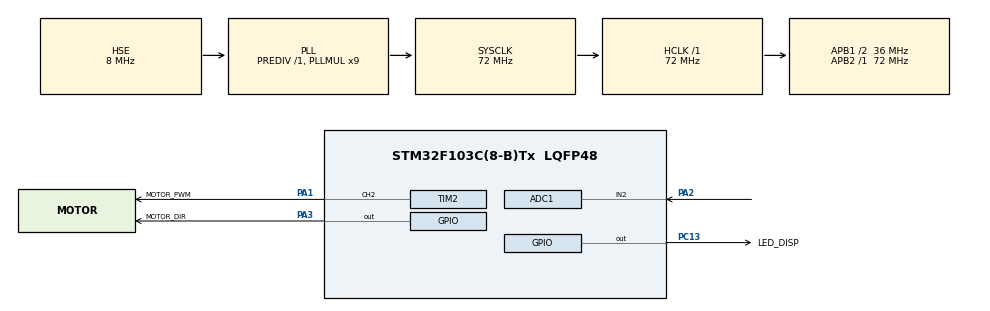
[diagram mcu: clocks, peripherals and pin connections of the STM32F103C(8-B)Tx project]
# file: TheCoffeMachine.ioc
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ADC1.Channel-9\#ChannelRegularConversion=ADC_CHANNEL_2
ADC1.ContinuousConvMode=DISABLE
ADC1.NbrOfConversionFlag=1
ADC1.Rank-9\#ChannelRegularConversion=1
ADC1.SamplingTime-9\#ChannelRegularConversion=ADC_SAMPLETIME_239CYCLES_5
ADC1.master=1
FREERTOS.INCLUDE_vTaskDelayUntil=1
FREERTOS.Tasks01=defaultTask,0,128,StartDefaultTask,Default,NULL,Dynamic,NULL,NULL;motorCtrlTask,2,128,startMotorCtrlTask,Default,NULL,Dynamic,NULL,NULL;ledDispTask,0,128,startLedDispTask,Default,NULL,Dynamic,NULL,NULL;volumeReadTask,1,128,startVolumeReadTask,Default,NULL,Dynamic,NULL,NULL
FREERTOS.configTOTAL_HEAP_SIZE=4096
Mcu.Family=STM32F1
Mcu.Name=STM32F103C(8-B)Tx
Mcu.Package=LQFP48
NVIC.ADC1_2_IRQn=true\:5\:0\:false\:false\:true\:true\:true
NVIC.PriorityGroup=NVIC_PRIORITYGROUP_4
NVIC.TIM1_UP_IRQn=true\:0\:0\:false\:false\:true\:false\:false
NVIC.TimeBase=TIM1_UP_IRQn
NVIC.TimeBaseIP=TIM1
PA1.GPIO_Label=MOTOR_PWM
PA1.GPIO_Speed=GPIO_SPEED_FREQ_HIGH
PA1.Signal=S_TIM2_CH2
PA13.Mode=Serial_Wire
PA13.Signal=SYS_JTMS-SWDIO
PA14.Mode=Serial_Wire
PA14.Signal=SYS_JTCK-SWCLK
PA2.Signal=ADCx_IN2
PA3.GPIO_Label=MOTOR_DIR
PA3.Signal=GPIO_Output
PC13-TAMPER-RTC.GPIO_Label=LED_DISP
PC13-TAMPER-RTC.Signal=GPIO_Output
PD0-OSC_IN.Mode=HSE-External-Oscillator
PD0-OSC_IN.Signal=RCC_OSC_IN
PD1-OSC_OUT.Mode=HSE-External-Oscillator
PD1-OSC_OUT.Signal=RCC_OSC_OUT
ProjectManager.HeapSize=0x200
ProjectManager.StackSize=0x400
ProjectManager.TargetToolchain=MDK-ARM V5
RCC.ADCPresc=RCC_ADCPCLK2_DIV6
RCC.AHBFreq_Value=72000000
RCC.APB1CLKDivider=RCC_HCLK_DIV2
RCC.APB1Freq_Value=36000000
RCC.APB1TimFreq_Value=72000000
RCC.APB2Freq_Value=72000000
RCC.APB2TimFreq_Value=72000000
RCC.HCLKFreq_Value=72000000
RCC.PLLMUL=RCC_PLL_MUL9
RCC.PLLSourceVirtual=RCC_PLLSOURCE_HSE
RCC.SYSCLKFreq_VALUE=72000000
RCC.SYSCLKSource=RCC_SYSCLKSOURCE_PLLCLK
RCC.USBFreq_Value=72000000
SH.ADCx_IN2.0=ADC1_IN2,IN2
SH.S_TIM2_CH2.0=TIM2_CH2,PWM Generation2 CH2
TIM2.AutoReloadPreload=TIM_AUTORELOAD_PRELOAD_ENABLE
TIM2.Channel-PWM\ Generation2\ CH2=TIM_CHANNEL_2
TIM2.Period=(900-1)
TIM2.Prescaler=(4-1)
VP_FREERTOS_VS_ENABLE.Mode=Enabled
VP_SYS_VS_tim1.Mode=TIM1
board=custom

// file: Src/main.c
/* USER CODE BEGIN Header */
/**
  ******************************************************************************
  * @file           : main.c
  * @brief          : Main program body
  ******************************************************************************
  * This notice applies to any and all portions of this file
  * that are not between comment pairs USER CODE BEGIN and
  * USER CODE END. Other portions of this file, whether
  * inserted by the user or by software development tools
  * are owned by their respective copyright owners.
  *
  * Copyright (c) 2021 STMicroelectronics International N.V.
  * All rights reserved.
  *
  * Redistribution and use in source and binary forms, with or without
  * modification, are permitted, provided that the following conditions are met:
  *
  * 1. Redistribution of source code must retain the above copyright notice,
  *    this list of conditions and the following disclaimer.
  * 2. Redistributions in binary form must reproduce the above copyright notice,
  *    this list of conditions and the following disclaimer in the documentation
  *    and/or other materials provided with the distribution.
  * 3. Neither the name of STMicroelectronics nor the names of other
  *    contributors to this software may be used to endorse or promote products
  *    derived from this software without specific written permission.
  * 4. This software, including modifications and/or derivative works of this
  *    software, must execute solely and exclusively on microcontroller or
  *    microprocessor devices manufactured by or for STMicroelectronics.
  * 5. Redistribution and use of this software other than as permitted under
  *    this license is void and will automatically terminate your rights under
  *    this license.
  *
  * THIS SOFTWARE IS PROVIDED BY STMICROELECTRONICS AND CONTRIBUTORS "AS IS"
  * AND ANY EXPRESS, IMPLIED OR STATUTORY WARRANTIES, INCLUDING, BUT NOT
  * LIMITED TO, THE IMPLIED WARRANTIES OF MERCHANTABILITY, FITNESS FOR A
  * PARTICULAR PURPOSE AND NON-INFRINGEMENT OF THIRD PARTY INTELLECTUAL PROPERTY
  * RIGHTS ARE DISCLAIMED TO THE FULLEST EXTENT PERMITTED BY LAW. IN NO EVENT
  * SHALL STMICROELECTRONICS OR CONTRIBUTORS BE LIABLE FOR ANY DIRECT, INDIRECT,
  * INCIDENTAL, SPECIAL, EXEMPLARY, OR CONSEQUENTIAL DAMAGES (INCLUDING, BUT NOT
  * LIMITED TO, PROCUREMENT OF SUBSTITUTE GOODS OR SERVICES; LOSS OF USE, DATA,
  * OR PROFITS; OR BUSINESS INTERRUPTION) HOWEVER CAUSED AND ON ANY THEORY OF
  * LIABILITY, WHETHER IN CONTRACT, STRICT LIABILITY, OR TORT (INCLUDING
  * NEGLIGENCE OR OTHERWISE) ARISING IN ANY WAY OUT OF THE USE OF THIS SOFTWARE,
  * EVEN IF ADVISED OF THE POSSIBILITY OF SUCH DAMAGE.
  *
  ******************************************************************************
  */
/* USER CODE END Header */

#include "main.h"
#include "cmsis_os.h"
#include "adc.h"
#include "tim.h"
#include "gpio.h"

void SystemClock_Config(void);
void MX_FREERTOS_Init(void);

int main(void)
{

  /* MCU Configuration--------------------------------------------------------*/

  /* Reset of all peripherals, Initializes the Flash interface and the Systick. */
  HAL_Init();

  /* Configure the system clock */
  SystemClock_Config();

  /* Initialize all configured peripherals */
  MX_GPIO_Init();
  MX_TIM2_Init();
  MX_ADC1_Init();

  /* Call init function for freertos objects (in freertos.c) */
  MX_FREERTOS_Init();

  /* Start scheduler */
  osKernelStart();

  /* We should never get here as control is now taken by the scheduler */

  /* Infinite loop */
  while (1)
  {

  }
}

void SystemClock_Config(void)
{
  RCC_OscInitTypeDef RCC_OscInitStruct = {0};
  RCC_ClkInitTypeDef RCC_ClkInitStruct = {0};
  RCC_PeriphCLKInitTypeDef PeriphClkInit = {0};

  /**Initializes the CPU, AHB and APB busses clocks
  */
  RCC_OscInitStruct.OscillatorType = RCC_OSCILLATORTYPE_HSE;
  RCC_OscInitStruct.HSEState = RCC_HSE_ON;
  RCC_OscInitStruct.HSEPredivValue = RCC_HSE_PREDIV_DIV1;
  RCC_OscInitStruct.HSIState = RCC_HSI_ON;
  RCC_OscInitStruct.PLL.PLLState = RCC_PLL_ON;
  RCC_OscInitStruct.PLL.PLLSource = RCC_PLLSOURCE_HSE;
  RCC_OscInitStruct.PLL.PLLMUL = RCC_PLL_MUL9;
  if (HAL_RCC_OscConfig(&RCC_OscInitStruct) != HAL_OK)
  {
    Error_Handler();
  }
  /**Initializes the CPU, AHB and APB busses clocks
  */
  RCC_ClkInitStruct.ClockType = RCC_CLOCKTYPE_HCLK|RCC_CLOCKTYPE_SYSCLK
                              |RCC_CLOCKTYPE_PCLK1|RCC_CLOCKTYPE_PCLK2;
  RCC_ClkInitStruct.SYSCLKSource = RCC_SYSCLKSOURCE_PLLCLK;
  RCC_ClkInitStruct.AHBCLKDivider = RCC_SYSCLK_DIV1;
  RCC_ClkInitStruct.APB1CLKDivider = RCC_HCLK_DIV2;
  RCC_ClkInitStruct.APB2CLKDivider = RCC_HCLK_DIV1;

  if (HAL_RCC_ClockConfig(&RCC_ClkInitStruct, FLASH_LATENCY_2) != HAL_OK)
  {
    Error_Handler();
  }
  PeriphClkInit.PeriphClockSelection = RCC_PERIPHCLK_ADC;
  PeriphClkInit.AdcClockSelection = RCC_ADCPCLK2_DIV6;
  if (HAL_RCCEx_PeriphCLKConfig(&PeriphClkInit) != HAL_OK)
  {
    Error_Handler();
  }
}

void HAL_TIM_PeriodElapsedCallback(TIM_HandleTypeDef *htim)
{
  if (htim->Instance == TIM1) {
    HAL_IncTick();
  }
}

void Error_Handler(void)
{
}

/************************ (C) COPYRIGHT STMicroelectronics *****END OF FILE****/

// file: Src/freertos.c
/* USER CODE BEGIN Header */
/**
  ******************************************************************************
  * File Name          : freertos.c
  * Description        : Code for freertos applications
  ******************************************************************************
  * This notice applies to any and all portions of this file
  * that are not between comment pairs USER CODE BEGIN and
  * USER CODE END. Other portions of this file, whether
  * inserted by the user or by software development tools
  * are owned by their respective copyright owners.
  *
  * Copyright (c) 2021 STMicroelectronics International N.V.
  * All rights reserved.
  *
  * Redistribution and use in source and binary forms, with or without
  * modification, are permitted, provided that the following conditions are met:
  *
  * 1. Redistribution of source code must retain the above copyright notice,
  *    this list of conditions and the following disclaimer.
  * 2. Redistributions in binary form must reproduce the above copyright notice,
  *    this list of conditions and the following disclaimer in the documentation
  *    and/or other materials provided with the distribution.
  * 3. Neither the name of STMicroelectronics nor the names of other
  *    contributors to this software may be used to endorse or promote products
  *    derived from this software without specific written permission.
  * 4. This software, including modifications and/or derivative works of this
  *    software, must execute solely and exclusively on microcontroller or
  *    microprocessor devices manufactured by or for STMicroelectronics.
  * 5. Redistribution and use of this software other than as permitted under
  *    this license is void and will automatically terminate your rights under
  *    this license.
  *
  * THIS SOFTWARE IS PROVIDED BY STMICROELECTRONICS AND CONTRIBUTORS "AS IS"
  * AND ANY EXPRESS, IMPLIED OR STATUTORY WARRANTIES, INCLUDING, BUT NOT
  * LIMITED TO, THE IMPLIED WARRANTIES OF MERCHANTABILITY, FITNESS FOR A
  * PARTICULAR PURPOSE AND NON-INFRINGEMENT OF THIRD PARTY INTELLECTUAL PROPERTY
  * RIGHTS ARE DISCLAIMED TO THE FULLEST EXTENT PERMITTED BY LAW. IN NO EVENT
  * SHALL STMICROELECTRONICS OR CONTRIBUTORS BE LIABLE FOR ANY DIRECT, INDIRECT,
  * INCIDENTAL, SPECIAL, EXEMPLARY, OR CONSEQUENTIAL DAMAGES (INCLUDING, BUT NOT
  * LIMITED TO, PROCUREMENT OF SUBSTITUTE GOODS OR SERVICES; LOSS OF USE, DATA,
  * OR PROFITS; OR BUSINESS INTERRUPTION) HOWEVER CAUSED AND ON ANY THEORY OF
  * LIABILITY, WHETHER IN CONTRACT, STRICT LIABILITY, OR TORT (INCLUDING
  * NEGLIGENCE OR OTHERWISE) ARISING IN ANY WAY OUT OF THE USE OF THIS SOFTWARE,
  * EVEN IF ADVISED OF THE POSSIBILITY OF SUCH DAMAGE.
  *
  ******************************************************************************
  */
/* USER CODE END Header */

#include "FreeRTOS.h"
#include "task.h"
#include "main.h"
#include "cmsis_os.h"

/* USER CODE BEGIN Includes */
#include "MotorCtl.h"
#include "adc.h"
/* USER CODE END Includes */

/* USER CODE BEGIN Variables */
tUI32 volumeAdcValue_gdu32               = 0;
tUI8  volumeAdcStartupCounter            = 0;
tUI8  volumeAdcStartupErrorStatus_gdu8 = 0;

tUI32 motorPwmDutySet_gdu32 = 0;
/* USER CODE END Variables */
osThreadId defaultTaskHandle;
osThreadId motorCtrlTaskHandle;
osThreadId ledDispTaskHandle;
osThreadId volumeReadTaskHandle;

/* USER CODE BEGIN FunctionPrototypes */
void startupErrorHandler(void);
/* USER CODE END FunctionPrototypes */

void StartDefaultTask(void const * argument);
void startMotorCtrlTask(void const * argument);
void startLedDispTask(void const * argument);
void startVolumeReadTask(void const * argument);

void MX_FREERTOS_Init(void); /* (MISRA C 2004 rule 8.1) */

void MX_FREERTOS_Init(void) {

  /* Create the thread(s) */
  /* definition and creation of defaultTask */
  osThreadDef(defaultTask, StartDefaultTask, osPriorityNormal, 0, 128);
  defaultTaskHandle = osThreadCreate(osThread(defaultTask), NULL);

  /* definition and creation of motorCtrlTask */
  osThreadDef(motorCtrlTask, startMotorCtrlTask, osPriorityHigh, 0, 128);
  motorCtrlTaskHandle = osThreadCreate(osThread(motorCtrlTask), NULL);

  /* definition and creation of ledDispTask */
  osThreadDef(ledDispTask, startLedDispTask, osPriorityNormal, 0, 128);
  ledDispTaskHandle = osThreadCreate(osThread(ledDispTask), NULL);

  /* definition and creation of volumeReadTask */
  osThreadDef(volumeReadTask, startVolumeReadTask, osPriorityAboveNormal, 0, 128);
  volumeReadTaskHandle = osThreadCreate(osThread(volumeReadTask), NULL);

}

void StartDefaultTask(void const * argument)
{

  /* USER CODE BEGIN StartDefaultTask */
  TickType_t xNextWakeTime;
  const TickType_t xFrequency = 100u; // 100ms
  /* Infinite loop */
  for(;;)
  {
    // Only active once the error detected at starting up
    if (9 == volumeAdcStartupErrorStatus_gdu8) {
      HAL_GPIO_TogglePin(LED_DISP_GPIO_Port, LED_DISP_Pin);
    }
    vTaskDelayUntil(&xNextWakeTime, xFrequency);
  }
  /* USER CODE END StartDefaultTask */
}

void startMotorCtrlTask(void const * argument)
{
  /* USER CODE BEGIN startMotorCtrlTask */
  TickType_t xNextWakeTime;
  const TickType_t xFrequency = 10u; // 10ms

  // Motor control initialize
  motorI_Init();
  /* Infinite loop */
  for(;;)
  {
    // Check for error
    if (9 == volumeAdcStartupErrorStatus_gdu8) break;
    else if (0 == volumeAdcStartupErrorStatus_gdu8) { /* Start up check, waiting for valid */ }
    else {
      // Calculate duty according to adc value read
      motorPwmDutySet_gdu32 = (volumeAdcValue_gdu32 * 500) / 4096;
      // Direct motor export
      motorI_SetPwmOutput((tUI16)motorPwmDutySet_gdu32);
    }
    vTaskDelayUntil(&xNextWakeTime, xFrequency);
  }
  startupErrorHandler();
  /* USER CODE END startMotorCtrlTask */
}

void startLedDispTask(void const * argument)
{
  /* USER CODE BEGIN startLedDispTask */
  TickType_t xNextWakeTime;
  const TickType_t xFrequency = 5u; // 5ms

  GPIO_PinState pin_status = GPIO_PIN_SET;
  tUI16 led_disp_counter = 0;
  tUI8  led_on_max_count = motorPwmDutySet_gdu32 / 5;
  tUI8  led_on_counter   = 0;
  /* Infinite loop */
  for(;;)
  {
    // Check for error
    if (9 == volumeAdcStartupErrorStatus_gdu8) break;
    else if (0 == volumeAdcStartupErrorStatus_gdu8) { /* Start up check, waiting for valid */ }
    else {
      // Pin state handle update every 0.5s
      if (led_disp_counter++ >= 100) {
        led_disp_counter = 0;
        // Update duty recalcualte display
        led_on_max_count = motorPwmDutySet_gdu32 / 5;
      } else {
        // Keep duty and display
        led_on_counter++;
        if (led_on_counter >= (led_disp_counter)) {
          led_on_counter = 0;
        }
        else if (led_on_counter >= led_on_max_count) {
          // Off led -> positive low
          pin_status = GPIO_PIN_SET;
        }
        else {
          // On led  -> positive low
          pin_status = GPIO_PIN_RESET;
        }
      }
      // Export led state handle
      HAL_GPIO_WritePin(LED_DISP_GPIO_Port, LED_DISP_Pin, pin_status);
    }
    vTaskDelayUntil(&xNextWakeTime, xFrequency);
  }
  startupErrorHandler();
  /* USER CODE END startLedDispTask */
}

void startVolumeReadTask(void const * argument)
{
  /* USER CODE BEGIN startVolumeReadTask */
  TickType_t xNextWakeTime;
  const TickType_t xFrequency = 10u; // 10ms

  // Calib
  HAL_ADCEx_Calibration_Start(&hadc1);

  /* Infinite loop */
  for(;;)
  {
    // Start ADC Conversion
    HAL_ADC_Start_IT(&hadc1);
    // Check for error start up
    if (9 == volumeAdcStartupErrorStatus_gdu8) {
      // No longer request adc conversion
      HAL_ADC_Stop_IT(&hadc1);
      break;
    }

    vTaskDelayUntil(&xNextWakeTime, xFrequency);
  }
  startupErrorHandler();
  /* USER CODE END startVolumeReadTask */
}

/* USER CODE BEGIN Application */
void HAL_ADC_ConvCpltCallback(ADC_HandleTypeDef* hadc) {
  static tUI32 sumupAdcRaw = 0;
  // Read & Update The ADC Result
  volumeAdcValue_gdu32 = HAL_ADC_GetValue(&hadc1);
  // Checking first 5 cycle
  if (volumeAdcStartupCounter < 5) {
    volumeAdcStartupCounter++;
    sumupAdcRaw += volumeAdcValue_gdu32;
    // Checking each sample, 100% equal to 4096, let the valid data lower than 50%
    // In first five cycles, each sampling data should not greater than 2000
    // Valid some noise, and first five sum up  should not greater than 2000x5 = 10000
    if (sumupAdcRaw >= 10000) volumeAdcStartupErrorStatus_gdu8 = 9;
    else volumeAdcStartupErrorStatus_gdu8 = 0;

  } else if ((volumeAdcStartupCounter >= 5) && (0 == volumeAdcStartupErrorStatus_gdu8)) {
    /* Valid first 5 sample -> start normal control */
    volumeAdcStartupErrorStatus_gdu8 = 1;
  } else { /* Do no thing */ }
}

void startupErrorHandler (void) {
  while (1) {
    /* Infinite loop n do nothing but need release resource */
    osDelay(1000);
  }
}
/* USER CODE END Application */

/************************ (C) COPYRIGHT STMicroelectronics *****END OF FILE****/
